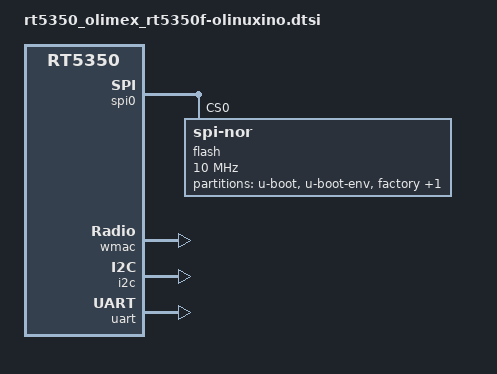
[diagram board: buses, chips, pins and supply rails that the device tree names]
#include "rt5350.dtsi"

/ {
	compatible = "olimex,rt5350f-olinuxino", "ralink,rt5350-soc";

	aliases {
		serial1 = &uart;
	};
};

&spi0 {
	status = "okay";

	flash@0 {
		compatible = "jedec,spi-nor";
		reg = <0>;
		spi-max-frequency = <10000000>;

		partitions {
			compatible = "fixed-partitions";
			#address-cells = <1>;
			#size-cells = <1>;

			partition@0 {
				label = "u-boot";
				reg = <0x0 0x30000>;
				read-only;
			};

			partition@30000 {
				label = "u-boot-env";
				reg = <0x30000 0x10000>;
				read-only;
			};

			factory: partition@40000 {
				label = "factory";
				reg = <0x40000 0x10000>;
				read-only;
			};

			partition@50000 {
				compatible = "denx,uimage";
				label = "firmware";
				reg = <0x50000 0x7b0000>;
			};
		};
	};
};

&state_default {
	gpio {
		groups = "jtag";
		function = "gpio";
	};
	uartf_gpio {
		groups = "uartf";
		function = "gpio uartf";
	};
};

&ethernet {
	mtd-mac-address = <&factory 0x4>;
};

&esw {
	mediatek,portmap = <0x2f>;
	mediatek,led_polarity = <0x17>;
};

&wmac {
	ralink,mtd-eeprom = <&factory 0x0>;
	ralink,led-polarity = <1>;
};

&i2c {
	status = "okay";
};

&uart {
	status = "okay";
};
